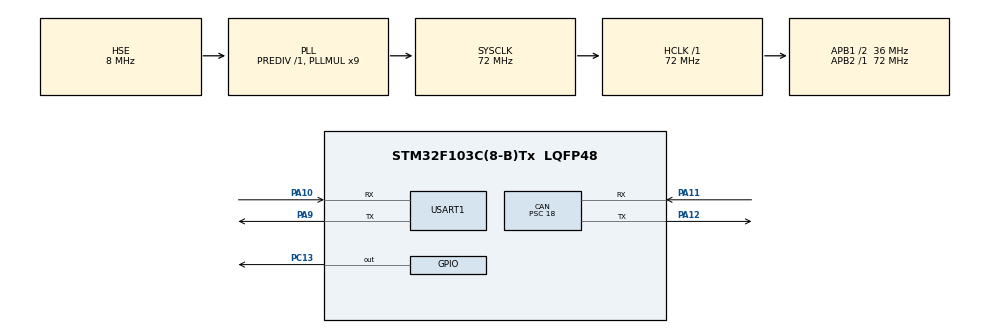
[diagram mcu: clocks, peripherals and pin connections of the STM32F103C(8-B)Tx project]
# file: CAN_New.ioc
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CAN.BS1=CAN_BS1_3TQ
CAN.BS2=CAN_BS2_4TQ
CAN.CalculateBaudRate=250000
CAN.CalculateTimeBit=4000
CAN.CalculateTimeQuantum=500.0
CAN.Prescaler=18
Mcu.Family=STM32F1
Mcu.Name=STM32F103C(8-B)Tx
Mcu.Package=LQFP48
NVIC.PriorityGroup=NVIC_PRIORITYGROUP_4
NVIC.USB_LP_CAN1_RX0_IRQn=true\:0\:0\:false\:false\:true\:true\:true\:true
PA10.Mode=Asynchronous
PA10.Signal=USART1_RX
PA11.GPIO_PuPd=GPIO_PULLUP
PA11.Mode=CAN_Activate
PA11.Signal=CAN_RX
PA12.Mode=CAN_Activate
PA12.Signal=CAN_TX
PA13.Mode=Serial_Wire
PA13.Signal=SYS_JTMS-SWDIO
PA14.Mode=Serial_Wire
PA14.Signal=SYS_JTCK-SWCLK
PA9.Mode=Asynchronous
PA9.Signal=USART1_TX
PC13-TAMPER-RTC.PinState=GPIO_PIN_SET
PC13-TAMPER-RTC.Signal=GPIO_Output
PD0-OSC_IN.Mode=HSE-External-Oscillator
PD0-OSC_IN.Signal=RCC_OSC_IN
PD1-OSC_OUT.Mode=HSE-External-Oscillator
PD1-OSC_OUT.Signal=RCC_OSC_OUT
ProjectManager.HeapSize=0x200
ProjectManager.StackSize=0x400
ProjectManager.TargetToolchain=STM32CubeIDE
RCC.AHBFreq_Value=72000000
RCC.APB1CLKDivider=RCC_HCLK_DIV2
RCC.APB1Freq_Value=36000000
RCC.APB1TimFreq_Value=72000000
RCC.APB2Freq_Value=72000000
RCC.APB2TimFreq_Value=72000000
RCC.HCLKFreq_Value=72000000
RCC.PLLMUL=RCC_PLL_MUL9
RCC.PLLSourceVirtual=RCC_PLLSOURCE_HSE
RCC.SYSCLKFreq_VALUE=72000000
RCC.SYSCLKSource=RCC_SYSCLKSOURCE_PLLCLK
RCC.USBFreq_Value=72000000
USART1.VirtualMode=VM_ASYNC
board=custom

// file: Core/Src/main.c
/* USER CODE BEGIN Header */
/**
  ******************************************************************************
  * @file           : main.c
  * @brief          : Main program body
  ******************************************************************************
  * @attention
  *
  * Copyright (c) 2023 STMicroelectronics.
  * All rights reserved.
  *
  * This software is licensed under terms that can be found in the LICENSE file
  * in the root directory of this software component.
  * If no LICENSE file comes with this software, it is provided AS-IS.
  *
  ******************************************************************************
  */
/* USER CODE END Header */
#include "main.h"

CAN_HandleTypeDef hcan;

UART_HandleTypeDef huart1;

/* USER CODE BEGIN PV */
//main TXHeader ,this header is used to send data
//when sending any data assign the required header values
//to this header then send this header
CAN_TxHeaderTypeDef MTxHeader;
CAN_TxHeaderTypeDef TxHeader;
CAN_TxHeaderTypeDef TxHeader2;
CAN_TxHeaderTypeDef TxHeader3;
CAN_TxHeaderTypeDef TxHeader4;
CAN_TxHeaderTypeDef TxHeader5;
CAN_RxHeaderTypeDef RxHeader;

CAN_TxHeaderTypeDef tempTxHeader;

uint8_t TxData[1]={1};
uint8_t TxData2[8]="Abdalla";
uint8_t TxData3[8]="Ahmed  ";
uint8_t TxData4[8]="Fatima";
uint8_t TxData5[8]="Mohamed";
uint8_t RxData[8];
uint32_t Mailbox=CAN_TX_MAILBOX0;
uint8_t resend=0;

/* USER CODE END PV */

void SystemClock_Config(void);
static void MX_GPIO_Init(void);
static void MX_CAN_Init(void);
static void MX_USART1_UART_Init(void);
/* USER CODE BEGIN PFP */
void NumericToASCII(uint32_t value,uint8_t *asciiValue,uint8_t * length);
void HAL_CAN_RxFifo0MsgPendingCallback(CAN_HandleTypeDef *hcan)
{
	uint8_t NewLine[25]="\n Received: \n ID: ";
	uint8_t DataIs[15]="\n Data: \n  ";
	uint8_t tempid[30]={0};
	uint8_t value=0;
	uint8_t* length=&value;
	HAL_CAN_GetRxMessage(hcan, CAN_RX_FIFO0, &RxHeader, RxData);
	tempTxHeader.DLC = RxHeader.DLC;
	tempTxHeader.ExtId =RxHeader.ExtId;
	tempTxHeader.IDE = RxHeader.IDE;
	tempTxHeader.RTR =RxHeader.RTR;
	tempTxHeader.TransmitGlobalTime =TxHeader.TransmitGlobalTime;
	tempTxHeader.StdId =RxHeader.StdId;
	HAL_UART_Transmit(&huart1, NewLine, 18, 200);
	NumericToASCII(RxHeader.StdId,tempid,length);
	HAL_UART_Transmit(&huart1, tempid, value, 200);
	HAL_UART_Transmit(&huart1, DataIs, 14, 200);

	for (uint8_t var = 0; var < RxHeader.DLC; ++var) {
		NumericToASCII(RxData[var],tempid,length);
		HAL_UART_Transmit(&huart1, tempid,1, 200);
	}

	//echo to replay the same massage received for testing purposes
	 HAL_CAN_AddTxMessage(hcan, &tempTxHeader, RxData, &Mailbox);

}

void HAL_CAN_TxMailbox0CompleteCallback(CAN_HandleTypeDef *hcan)
{
  /* Prevent unused argument(s) compilation warning */
	uint8_t NewLine[25]="\n Acknowledged: \n ID: ";
		HAL_UART_Transmit(&huart1, NewLine, 18, 200);

}
/* USER CODE END PFP */

int main(void)
{

  /* MCU Configuration--------------------------------------------------------*/

  /* Reset of all peripherals, Initializes the Flash interface and the Systick. */
  HAL_Init();

  /* Configure the system clock */
  SystemClock_Config();

  /* Initialize all configured peripherals */
  MX_GPIO_Init();
  MX_CAN_Init();
  MX_USART1_UART_Init();
  /* USER CODE BEGIN 2 */
  HAL_CAN_ActivateNotification(&hcan,CAN_IT_RX_FIFO0_MSG_PENDING);
  HAL_CAN_Start(&hcan);
  TxHeader.DLC = 1;
  TxHeader.ExtId = 0;
  TxHeader.IDE = CAN_ID_STD;
  TxHeader.RTR = CAN_RTR_DATA;
  TxHeader.TransmitGlobalTime = DISABLE;
  TxHeader.StdId = 0x1;

  TxHeader2 =MTxHeader;
  TxHeader3 =MTxHeader;
  TxHeader4 =MTxHeader;
  TxHeader5 =MTxHeader;

  TxHeader2.StdId=0x2;
  TxHeader2.DLC=8;
  TxHeader3.StdId=0x3;
  TxHeader3.DLC=8;
  TxHeader4.StdId=0x4;
  TxHeader4.DLC=8;
  TxHeader5.StdId=0x5;
  TxHeader5.DLC=8;

  const char * vStr="value sent \n";
  /* USER CODE END 2 */

  /* Infinite loop */
  /* USER CODE BEGIN WHILE */
  while (1)
  {
	  //uint8_t txtOK[]="HAL OK \n";

	  for (uint8_t var = 0; var < 8; var++) {
		  TxData[0]=var;
		  TxHeader.StdId=0x10+var;
		  MTxHeader=TxHeader;
		  uint8_t txtNOK[]="HAL NOK MSG\n";
		  if(HAL_CAN_AddTxMessage(&hcan, &MTxHeader, TxData, &Mailbox)==HAL_OK)
			  {
			  HAL_UART_Transmit(&huart1, (const uint8_t *)"HAL OK MSG1 \n", 13, 100);
			  }
		  else
			  HAL_UART_Transmit(&huart1, (const uint8_t *)txtNOK, 11, 100);

		  MTxHeader=TxHeader2;
		  if(HAL_CAN_AddTxMessage(&hcan, &MTxHeader, TxData2, &Mailbox)==HAL_OK)
				  {
				  HAL_UART_Transmit(&huart1, (const uint8_t *)"HAL OK MSG2 \n", 13, 100);
				  }
			  else
				  HAL_UART_Transmit(&huart1, (const uint8_t *)txtNOK, 11, 100);

		  MTxHeader=TxHeader3;
		  if(HAL_CAN_AddTxMessage(&hcan, &MTxHeader, TxData3, &Mailbox)==HAL_OK)
				  {
				  HAL_UART_Transmit(&huart1, (const uint8_t *)"HAL OK MSG3 \n", 13, 100);
				  }
			  else
				  HAL_UART_Transmit(&huart1, (const uint8_t *)txtNOK, 11, 100);

		  MTxHeader=TxHeader4;
		  if(HAL_CAN_AddTxMessage(&hcan, &MTxHeader, TxData4, &Mailbox)==HAL_OK)
				  {
				  HAL_UART_Transmit(&huart1, (const uint8_t *)"HAL OK MSG4 \n", 13, 100);
				  }
			  else
				  HAL_UART_Transmit(&huart1, (const uint8_t *)"HAL NOT OK \n", 13, 100);

		  MTxHeader=TxHeader5;
		  if(HAL_CAN_AddTxMessage(&hcan, &MTxHeader, TxData5, &Mailbox)==HAL_OK)
				  {
				  HAL_UART_Transmit(&huart1, (const uint8_t *)"HAL OK MSG5 \n", 13, 100);
				  }
			  else
				  HAL_UART_Transmit(&huart1, (const uint8_t *)"HAL NOT OK \n", 13, 100);

		  HAL_GPIO_WritePin(GPIOC, GPIO_PIN_13, GPIO_PIN_RESET);
		  HAL_Delay(400);
		  HAL_GPIO_WritePin(GPIOC, GPIO_PIN_13, GPIO_PIN_SET);
		  HAL_Delay(400);
		  HAL_UART_Transmit(&huart1, (const uint8_t *)vStr, 12, 100);

	}

    /* USER CODE END WHILE */

  }
}

void SystemClock_Config(void)
{
  RCC_OscInitTypeDef RCC_OscInitStruct = {0};
  RCC_ClkInitTypeDef RCC_ClkInitStruct = {0};

  /** Initializes the RCC Oscillators according to the specified parameters
  * in the RCC_OscInitTypeDef structure.
  */
  RCC_OscInitStruct.OscillatorType = RCC_OSCILLATORTYPE_HSE;
  RCC_OscInitStruct.HSEState = RCC_HSE_ON;
  RCC_OscInitStruct.HSEPredivValue = RCC_HSE_PREDIV_DIV1;
  RCC_OscInitStruct.HSIState = RCC_HSI_ON;
  RCC_OscInitStruct.PLL.PLLState = RCC_PLL_ON;
  RCC_OscInitStruct.PLL.PLLSource = RCC_PLLSOURCE_HSE;
  RCC_OscInitStruct.PLL.PLLMUL = RCC_PLL_MUL9;
  if (HAL_RCC_OscConfig(&RCC_OscInitStruct) != HAL_OK)
  {
    Error_Handler();
  }

  /** Initializes the CPU, AHB and APB buses clocks
  */
  RCC_ClkInitStruct.ClockType = RCC_CLOCKTYPE_HCLK|RCC_CLOCKTYPE_SYSCLK
                              |RCC_CLOCKTYPE_PCLK1|RCC_CLOCKTYPE_PCLK2;
  RCC_ClkInitStruct.SYSCLKSource = RCC_SYSCLKSOURCE_PLLCLK;
  RCC_ClkInitStruct.AHBCLKDivider = RCC_SYSCLK_DIV1;
  RCC_ClkInitStruct.APB1CLKDivider = RCC_HCLK_DIV2;
  RCC_ClkInitStruct.APB2CLKDivider = RCC_HCLK_DIV1;

  if (HAL_RCC_ClockConfig(&RCC_ClkInitStruct, FLASH_LATENCY_2) != HAL_OK)
  {
    Error_Handler();
  }
}

static void MX_CAN_Init(void)
{

  hcan.Instance = CAN1;
  hcan.Init.Prescaler = 18;
  hcan.Init.Mode = CAN_MODE_NORMAL;
  hcan.Init.SyncJumpWidth = CAN_SJW_1TQ;
  hcan.Init.TimeSeg1 = CAN_BS1_3TQ;
  hcan.Init.TimeSeg2 = CAN_BS2_4TQ;
  hcan.Init.TimeTriggeredMode = DISABLE;
  hcan.Init.AutoBusOff = DISABLE;
  hcan.Init.AutoWakeUp = DISABLE;
  hcan.Init.AutoRetransmission = DISABLE;
  hcan.Init.ReceiveFifoLocked = DISABLE;
  hcan.Init.TransmitFifoPriority = DISABLE;
  if (HAL_CAN_Init(&hcan) != HAL_OK)
  {
    Error_Handler();
  }
  /* USER CODE BEGIN CAN_Init 2 */
  CAN_FilterTypeDef CanFilterConfig;
  CanFilterConfig.FilterActivation = CAN_FILTER_ENABLE;
  CanFilterConfig.FilterBank = 0;
  CanFilterConfig.FilterFIFOAssignment = CAN_FILTER_FIFO0;
  CanFilterConfig.FilterIdHigh = 0;
  CanFilterConfig.FilterIdLow = 0;
  CanFilterConfig.FilterMaskIdHigh = 0;
  CanFilterConfig.FilterMaskIdLow = 0;
  CanFilterConfig.FilterMode = CAN_FILTERMODE_IDMASK;
  CanFilterConfig.FilterScale = CAN_FILTERSCALE_32BIT;
  CanFilterConfig.SlaveStartFilterBank = 2;

  HAL_CAN_ConfigFilter(&hcan, &CanFilterConfig);

  /* USER CODE END CAN_Init 2 */

}

static void MX_USART1_UART_Init(void)
{

  huart1.Instance = USART1;
  huart1.Init.BaudRate = 115200;
  huart1.Init.WordLength = UART_WORDLENGTH_8B;
  huart1.Init.StopBits = UART_STOPBITS_1;
  huart1.Init.Parity = UART_PARITY_NONE;
  huart1.Init.Mode = UART_MODE_TX_RX;
  huart1.Init.HwFlowCtl = UART_HWCONTROL_NONE;
  huart1.Init.OverSampling = UART_OVERSAMPLING_16;
  if (HAL_UART_Init(&huart1) != HAL_OK)
  {
    Error_Handler();
  }

}

static void MX_GPIO_Init(void)
{
  GPIO_InitTypeDef GPIO_InitStruct = {0};

  /* GPIO Ports Clock Enable */
  __HAL_RCC_GPIOC_CLK_ENABLE();
  __HAL_RCC_GPIOD_CLK_ENABLE();
  __HAL_RCC_GPIOA_CLK_ENABLE();

  /*Configure GPIO pin Output Level */
  HAL_GPIO_WritePin(GPIOC, GPIO_PIN_13, GPIO_PIN_SET);

  /*Configure GPIO pin : PC13 */
  GPIO_InitStruct.Pin = GPIO_PIN_13;
  GPIO_InitStruct.Mode = GPIO_MODE_OUTPUT_PP;
  GPIO_InitStruct.Pull = GPIO_NOPULL;
  GPIO_InitStruct.Speed = GPIO_SPEED_FREQ_LOW;
  HAL_GPIO_Init(GPIOC, &GPIO_InitStruct);

}

/* USER CODE BEGIN 4 */

void NumericToASCII(uint32_t value,uint8_t *asciiValue,uint8_t * length)
{
     // Assuming the maximum number of digits is 10
	for (uint8_t var = 0; var <= 30; var++) {
		asciiValue[var]=0;
	}
    int i = 0;
    uint8_t len=0;
    // Handle negative numbers

    // Convert each digit to ASCII
    do {
        int digit = value % 16;
        asciiValue[i++] = digit < 10 ? digit + '0' : digit - 10 + 'A';
        value /= 16;
        len++;
    } while (value > 0);
    for (uint8_t var = 0; var < len; ++var) {
    	uint8_t tempval=asciiValue[var];
    	asciiValue[var]=asciiValue[len-var];
    	asciiValue[len-var]=tempval;
	}

    *length=len;
    // Reverse the order of digits

}

/* USER CODE END 4 */

void Error_Handler(void)
{
  __disable_irq();
  while (1)
  {
  }
}
